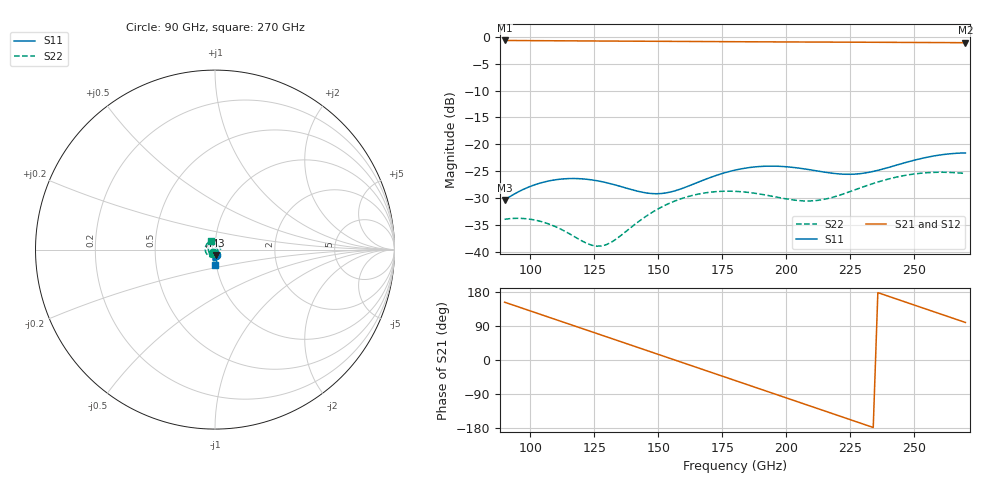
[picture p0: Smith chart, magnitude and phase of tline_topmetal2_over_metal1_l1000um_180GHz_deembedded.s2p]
! Created with skrf 2.0.1 (http://scikit-rf.org).
# GHz S DB R 50.0
!freq dBS11 angS11 dBS21 angS21 dBS12 angS12 dBS22 angS22
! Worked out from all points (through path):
!   101 points, 90 GHz to 270 GHz, reference 50 ohm
!   highest |S21| = -0.68 dB at 90 GHz (marker M1); lowest = -1.1 dB at 270 GHz (marker M2)
!   group delay of S21, straight-line fit = 6.38 ps
!   lowest |S11| = -30.4 dB at 90 GHz (marker M3), VSWR 1.06, Z = 50.7 - j2.98 ohm
!   |S11| at or under -10 dB: start of sweep to end of sweep
!   |S22| runs from -38.9 to -25.2 dB; largest |S21 - S12| = 1.6e-13
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90  -30.35 -75.7  -0.68 152.5  -0.68 152.5  -33.93 -120.8
99  -28.01 -81.2  -0.70 131.9  -0.70 131.9  -33.86 -149.0
106.2  -26.91 -88.4  -0.73 115.4  -0.73 115.4  -34.63 -175.2
113.4  -26.40 -96.1  -0.75 98.9  -0.75 98.9  -36.12 153.6
120.6  -26.42 -103.0  -0.76 82.4  -0.76 82.4  -38.05 113.0
129.6  -27.11 -109.0  -0.79 61.7  -0.79 61.7  -38.67 45.1
140.4  -28.51 -108.1  -0.81 36.9  -0.81 36.9  -35.06 -25.3
151.2  -29.14 -96.1  -0.84 12.1  -0.84 12.1  -31.68 -74.6
158.4  -28.36 -87.4  -0.86 -4.4  -0.86 -4.4  -30.20 -103.0
165.6  -27.03 -83.2  -0.87 -20.9  -0.87 -20.9  -29.25 -130.3
180  -24.79 -86.8  -0.91 -54.0  -0.91 -54.0  -28.73 174.4
189  -24.14 -92.5  -0.93 -74.7  -0.93 -74.7  -29.18 136.9
196.2  -24.06 -96.9  -0.95 -91.2  -0.95 -91.2  -29.80 103.7
203.4  -24.32 -100.1  -0.96 -107.7  -0.96 -107.7  -30.38 66.6
210.6  -24.82 -101.0  -0.97 -124.3  -0.97 -124.3  -30.49 26.2
219.6  -25.45 -97.7  -0.99 -145.0  -0.99 -145.0  -29.64 -24.3
226.8  -25.53 -92.0  -1.00 -161.5  -1.00 -161.5  -28.46 -61.3
234  -25.03 -86.2  -1.01 -178.1  -1.01 -178.1  -27.27 -94.7
241.2  -24.12 -82.8  -1.03 165.3  -1.03 165.3  -26.29 -125.6
248.4  -23.15 -82.6  -1.05 148.7  -1.05 148.7  -25.61 -155.1
257.4  -22.18 -85.4  -1.07 128.0  -1.07 128.0  -25.21 168.6
270  -21.59 -91.8  -1.09 99.1  -1.09 99.1  -25.41 116.2
